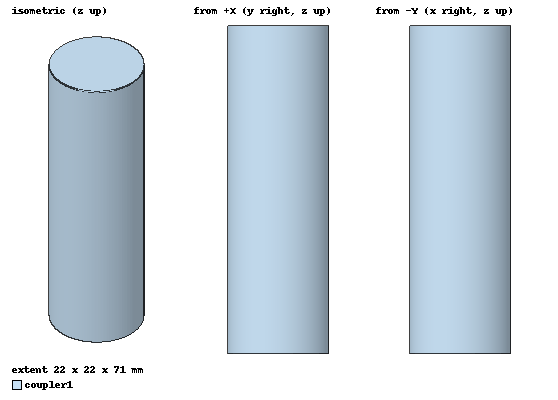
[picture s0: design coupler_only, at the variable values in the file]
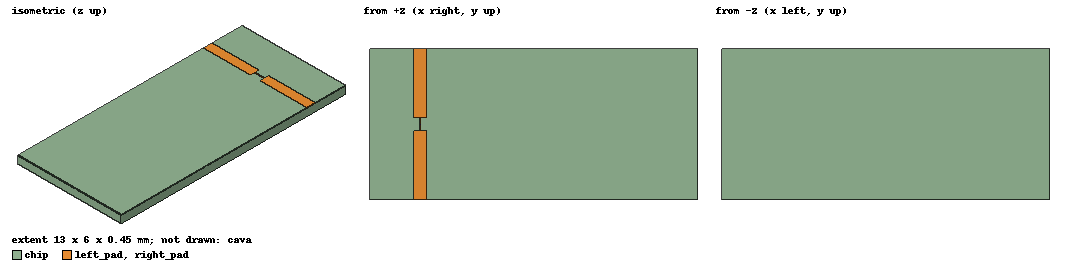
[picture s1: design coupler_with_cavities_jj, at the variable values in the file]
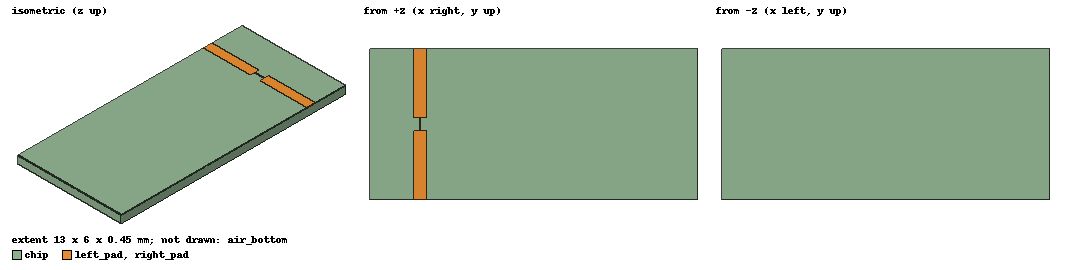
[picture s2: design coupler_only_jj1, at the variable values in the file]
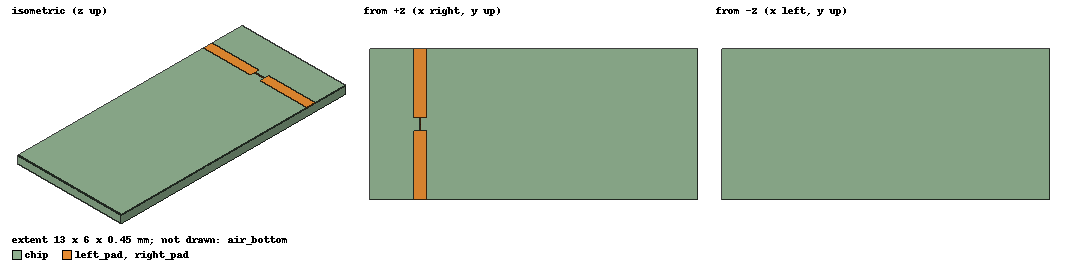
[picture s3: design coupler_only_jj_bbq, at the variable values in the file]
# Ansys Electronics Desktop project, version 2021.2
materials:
  vacuum: permittivity=1
  pec: conductivity=1e+30
  sapphire: permittivity=10 dielectric_loss_tangent=1.5e-08
  stycast: permittivity=2.772 dielectric_loss_tangent=5e-06 delta_H_freq=3000000

design coupler_only (HFSS, Eigenmode, model units mm)
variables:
  r_cpl = 10mm
  h_cpl = 70mm
  r_post = 2mm
  l_post = 7mm
  post_offset = 2mm
  h_bottom = 1mm
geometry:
  r_post = cylinder(axis=Z, base_centre=(0mm, post_offset/2 + r_post, 0mm), radius=r_post, height=l_post)
  l_post = cylinder(axis=Z, base_centre=(0mm, -post_offset/2-r_post, 0mm), radius=r_post, height=l_post)
  cavity_bottom = cylinder(axis=Z, base_centre=(0mm, 0mm, -h_bottom), radius=r_cpl, height=h_bottom)
  chip_slot = box(corner=(-r_post, -post_offset/2 - post_offset, -h_bottom), size=(r_cpl + r_post, post_offset + 2*post_offset, h_bottom))
  cavity_bottom.subtract(chip_slot)
  cavity_bottom.unite(l_post, r_post)
  coupler1 [vacuum] = cylinder(axis=Z, base_centre=(0mm, 0mm, -h_bottom), radius=1.1*r_cpl, height=h_cpl+h_bottom)
  coupler1.subtract(cavity_bottom)
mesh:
  Length1: LengthBased Faces=coupler1.face(2 of 3, at (-0.230304, 0, 0)) MaxLength=1mm
  Length2: LengthBased Faces=coupler1.face(1 of 3) MaxLength=5mm
  Length3: LengthBased Faces=coupler1.face(3 of 3) MaxLength=4.4mm
  Length4: LengthBased RefineInside Objects=coupler1 MaxLength=5mm
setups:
  Setup1: HfssEigen MinimumFrequency=2.14286GHz NumModes=2 MaxDeltaFreq=0.01 ConvergeOnRealFreq=true MaximumPasses=30 MinimumPasses=1 MinimumConvergedPasses=1 PercentRefinement=30 BasisOrder=-1
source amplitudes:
  #-10:1: 0 0deg
  #-10:2: 1 0deg
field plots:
  Vector_E1: E Field in coupler1 on Setup1 : LastAdaptive at Phase=0deg
  Vector_Jsurf1: Jsurf over coupler1.face(all 14) on Setup1 : LastAdaptive at Phase=90deg

design coupler_only_jj (HFSS, Eigenmode, model units mm)
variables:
  r_cpl = 10mm
  h_cpl = 75mm
  r_post = 2mm
  l_post = 7mm
  post_offset = 2mm
  h_bottom = 1mm
  w_pad = 0.5mm
  l_pad = w_slot/2-l_taper-l_junc/2
  l_junc = 50um
  w_junc = 50um
  l_taper = 0.25mm
  w_slot = post_offset+2*r_post
  LJ = 1nH
  h_chip = 0.45mm
  coupler_offset = 5mm
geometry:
  r_post = cylinder(axis=Z, base_centre=(0mm, post_offset/2 + r_post, 0mm), radius=r_post, height=l_post)
  l_post = cylinder(axis=Z, base_centre=(0mm, -post_offset/2-r_post, 0mm), radius=r_post, height=l_post)
  coupler1 = cylinder(axis=Z, base_centre=(0mm, 0mm, 0mm), radius=r_cpl, height=h_cpl)
  chip [sapphire] = box(corner=(-r_cpl, -w_slot/2, -h_chip), size=(2*r_cpl, w_slot, h_chip))
  left_pad = rectangle(corner=(-w_pad/2, -l_pad-l_taper-l_junc/2, 0mm), x_size=w_pad, y_size=l_pad)
  right_pad = rectangle(corner=(-w_pad/2, l_taper+l_junc/2, 0mm), x_size=w_pad, y_size=l_pad)
  left_taper = rectangle(corner=(-w_junc/2, -l_taper-l_junc/2, 0mm), x_size=w_junc, y_size=l_taper)
  right_taper = rectangle(corner=(-w_junc/2, l_junc/2, 0mm), x_size=w_junc, y_size=l_taper)
  jj = rectangle(corner=(-w_junc/2, -l_junc/2, 0mm), x_size=l_junc, y_size=w_junc)
  air_bottom [vacuum] = cylinder(axis=Z, base_centre=(0mm, 0mm, 0mm), radius=r_cpl, height=h_chip)
  chip_2 = chip.copy()
  air_bottom.subtract(chip_2)
  air_bottom.unite(coupler1)
  air_bottom.subtract(l_post, r_post)
  chip_3 = chip.copy()
  air_bottom.subtract(chip_3)
  air_bottom_ObjectFromEdge1 = object_from(air_bottom.edge(at (-2, -3, 0)))
  left_pad_ObjectFromEdge1..left_pad_ObjectFromEdge4 = object_from(left_pad.edge(all 4))
  air_bottom_ObjectFromEdge1.subtract(left_pad_ObjectFromEdge1..left_pad_ObjectFromEdge4)
  air_bottom_ObjectFromEdge2 = object_from(air_bottom.edge(at (-2, 3, 0)))
  right_pad_ObjectFromEdge1..right_pad_ObjectFromEdge4 = object_from(right_pad.edge(all 4))
  air_bottom_ObjectFromEdge2.subtract(right_pad_ObjectFromEdge1..right_pad_ObjectFromEdge4)
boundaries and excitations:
  pads: Perfect E Objects=[left_pad, right_pad, left_taper, right_taper]
  LumpRLC1: Lumped RLC Objects=jj CurrentLine{middle of jj.edge(y at corner) -> middle of jj.edge(y opposite corner)} RLC_Type=Parallel Inductance=LJ
  Imped1: Impedance Faces=air_bottom.face(3 of 3) Resistance=377 Reactance=0
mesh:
  pads: LengthBased Objects=[right_pad, left_pad] MaxLength="10 * w_junc"
  junc_and_taper: LengthBased Objects=[right_taper, jj, left_taper] MaxLength=w_junc/2
  cavity_top: LengthBased Faces=air_bottom.face(3 of 3) MaxLength=4.4mm
  cavity_inside: LengthBased RefineInside Objects=air_bottom MaxLength=14.09mm
  post_mesh: LengthBased Faces=air_bottom.face(at (2, 3, 3.5), at (0, -3, 7), at (2, -3, 3.5), at (0, 3, 7)) MaxLength="10 * w_junc"
  cavity_bottom: LengthBased Faces=air_bottom.face(2 of 3) MaxLength="10 * w_junc"
  chip_top: LengthBased Faces=chip.face(+z) MaxLength="10 * w_junc"
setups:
  Setup1: HfssEigen MinimumFrequency=0.1GHz NumModes=4 MaxDeltaFreq=0.05 ConvergeOnRealFreq=true MaximumPasses=35 MinimumPasses=1 MinimumConvergedPasses=1 PercentRefinement=30 BasisOrder=-1 ExpressionCache{CacheItem{Title=Q_1_1 Expression=Q(1) IsConvergence UseRelativeConvergence=1 MaxConvergenceDelta=10 MaxConvergeValue=0.01 TraceID=2336 ReportType=2} CacheItem{Title=Q_2_1 Expression=Q(2) IsConvergence UseRelativeConvergence=1 MaxConvergenceDelta=10 MaxConvergeValue=0.01 TraceID=2338 ReportType=2}}
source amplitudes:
  #-10:1, #-10:3, #-10:4: 0 0deg
  #-10:2: 1 0deg
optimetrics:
  LJ_wpad_sweep: Parametric Sim._Setups=[Setup1]
    sweep w_pad: LIN 0.5mm 3.5mm 1mm
    sweep LJ: DEC 1nH 10nH 1
  hcpl_sweep: Parametric Sim._Setups=[Setup1]
    sweep h_cpl: LIN 75mm 350mm 25mm
  LJ_post_sep_sweep: Parametric Sim._Setups=[Setup1]
    sweep LJ: DEC 1nH 10nH 1
    sweep post_offset: LIN 0.75mm 5.75mm 1.25mm
  LJ_dpost_sweep: Parametric Sim._Setups=[Setup1]
    sweep r_post: LIN 0.5mm 3mm 0.5mm
    sweep LJ: DEC 1nH 10nH 1
  LJ_sweep: Parametric Sim._Setups=[Setup1]
    sweep LJ: DEC 0.1nH 100nH 3
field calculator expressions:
  IJ = Mag_Jsurf | EnterSurface(jj) | SurfaceValue | Integrate
  Uvac = Mag_E | 2 | Pow | EnterVolume(air_bottom) | VolumeValue | Integrate
  Uchip = Mag_E | 2 | Pow | EnterVolume(chip) | VolumeValue | Integrate | 11.49 | *
  Utot = Uvac | Uchip | +
  pe_chip = Uchip | Utot | /
  Hint = Mag_H | 2 | Pow | EnterVolume(AllObjects) | VolumeValue | Integrate | Output_Variable(Freq, 4) | Real | * | 3.14159265358979 | * | 1.25663706143592e-06 | * | 2 | *
  J1int = ComplexMag_Jsurf | 2 | Pow | EnterLine(air_bottom_ObjectFromEdge1) | LineValue | Integrate
  J2int = ComplexMag_Jsurf | 2 | Pow | EnterLine(air_bottom_ObjectFromEdge2) | LineValue | Integrate
  y1seam = J1int | Hint | /
  y2seam = J2int | Hint | /
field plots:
  Mesh1: MeshPlots on Setup1 : LastAdaptive at Phase=0deg
  Vector_Jsurf1: Jsurf over air_bottom.face(3 of 3, 1 of 3) chip.face(all 6) left_pad.face(at (0, -1.6375, 0)) right_pad.face(at (0, 1.6375, 0)) left_taper.face right_taper.face jj.face on Setup1 : LastAdaptive at Phase=90deg
  Vector_E1: E Field on Setup1 : LastAdaptive at Phase=0deg
  Vector_Jsurf2: Jsurf over jj.face left_pad.face(at (0, -1.6375, 0)) left_taper.face right_pad.face(at (0, 1.6375, 0)) right_taper.face on Setup1 : LastAdaptive at Phase=90deg
  Vector_Jsurf3: Jsurf over jj.face left_pad.face(at (0, -1.6375, 0)) left_taper.face right_pad.face(at (0, 1.6375, 0)) right_taper.face air_bottom.face(at (2, 3, 3.5), at (2, -3, 3.5)) on Setup1 : LastAdaptive at Phase=90deg
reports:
  Eigen Modes Plot 2: re(Mode(2)) vs LJ on Setup1 : LastAdaptive [h_cpl=all post_offset=all w_pad=0.5mm]; markers m1 at 10nH, m2 at 1nH, m3 at 10nH, m4 at 1nH, m5 at 10nH, m6 at 1nH, m7 at 10nH, m8 at 1nH, m9 at 10nH, m10 at 1nH
  Eigen Modes Plot 3: re(Mode(2)) vs post_offset on Setup1 : LastAdaptive [h_cpl=75mm w_pad=0.5mm LJ=all]
  Eigen Modes Plot 4: re(Mode(1)) vs LJ on Setup1 : LastAdaptive [h_cpl=75mm r_post=all post_offset=2mm w_pad=0.5mm]
  Eigen Modes Plot 5: re(Mode(2)) vs LJ on Setup1 : LastAdaptive [h_cpl=75mm r_post=all post_offset=2mm w_pad=0.5mm]; markers m1 at 10nH, m2 at 1nH, m3 at 10nH, m4 at 1nH, m5 at 10nH, m6 at 1nH, m7 at 10nH, m8 at 1nH, m9 at 10nH, m10 at 1nH, m11 at 10nH, m12 at 1nH
  Calculator Expressions Plot 1: y1seam vs LJ on Setup1 : LastAdaptive [LJ=1nH,10nH h_cpl=all r_post=all post_offset=2mm w_pad=all Phase=90deg]
  Eigen Modes Plot 6: re(Mode(1)), re(Mode(2)), re(Mode(3)), re(Mode(4)) vs LJ on Setup1 : LastAdaptive [h_cpl=75mm r_post=2mm post_offset=2mm w_pad=0.5mm]; markers m1 at 10nH, m2 at 1nH
  Eigen Q Plot 1: Q(1), Q(2), Q(3), Q(4) vs LJ on Setup1 : LastAdaptive [h_cpl=75mm r_post=2mm post_offset=2mm w_pad=0.5mm]
  Eigen Modes Plot 7: re(Mode(2)) vs LJ on Setup1 : LastAdaptive [h_cpl=75mm r_post=2mm post_offset=2mm w_pad=all]; markers m1 at 10nH, m2 at 1nH, m3 at 10nH, m4 at 1nH, m5 at 10nH, m6 at 1nH, m7 at 10nH, m8 at 1nH
  Calculator Expressions Plot 2: y1seam vs LJ on Setup1 : LastAdaptive [LJ=1nH,10nH h_cpl=all r_post=2mm post_offset=2mm w_pad=all Phase=90deg]
  Calculator Expressions Plot 3: y1seam vs LJ on Setup1 : LastAdaptive [h_cpl=all r_post=2mm post_offset=all w_pad=0.5mm Phase=90deg]

design coupler_with_cavities_jj (HFSS, Eigenmode, model units mm)
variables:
  r_cpl = 10mm
  h_cpl = 75mm
  r_post = 2mm
  l_post = 7mm
  post_offset = 2mm
  h_bottom = 1mm
  w_pad = 0.5mm
  l_pad = w_slot/2-l_taper-l_junc/2
  l_junc = 50um
  w_junc = 50um
  l_taper = 0.25mm
  w_slot = post_offset+2*r_post
  LJ = 1nH
  h_chip = 0.45mm
  r_a = 15mm
  l_a = 75mm
  coupler_offset = 2mm
  ra_post = 3mm
  la_post = 10mm
  r_b = 15mm
  l_b = 75mm
  rb_post = 3mm
  lb_post = 12mm
  r_cpl_arm = 4mm
  l_cpl_arm = 6mm
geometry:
  r_post = cylinder(axis=Z, base_centre=(0mm, post_offset/2 + r_post, 0mm), radius=r_post, height=l_post)
  l_post = cylinder(axis=Z, base_centre=(0mm, -post_offset/2-r_post, 0mm), radius=r_post, height=l_post)
  coupler1 = cylinder(axis=Z, base_centre=(0mm, 0mm, -h_bottom), radius=r_cpl, height=h_cpl+h_bottom)
  chip [sapphire] = box(corner=(-r_post, -w_slot/2, -h_chip), size=(1.1*r_cpl + r_post, w_slot, h_chip))
  left_pad = rectangle(corner=(-w_pad/2, -l_pad-l_taper-l_junc/2, 0mm), x_size=w_pad, y_size=l_pad)
  right_pad = rectangle(corner=(-w_pad/2, l_taper+l_junc/2, 0mm), x_size=w_pad, y_size=l_pad)
  left_taper = rectangle(corner=(-w_junc/2, -l_taper-l_junc/2, 0mm), x_size=w_junc, y_size=l_taper)
  right_taper = rectangle(corner=(-w_junc/2, l_junc/2, 0mm), x_size=w_junc, y_size=l_taper)
  jj = rectangle(corner=(-w_junc/2, -l_junc/2, 0mm), x_size=l_junc, y_size=w_junc)
  air_bottom = cylinder(axis=Z, base_centre=(0mm, 0mm, -h_chip), radius=r_cpl, height=h_chip)
  chip_2 = chip.copy()
  air_bottom.subtract(chip_2)
  air_bottom.unite(coupler1)
  air_bottom.subtract(l_post, r_post)
  chip_3 = chip.copy()
  air_bottom.subtract(chip_3)
  cavb = cylinder(axis=Z, base_centre=(0mm, r_cpl+r_b+ coupler_offset, 0mm), radius=r_b, height=l_b)
  cava [vacuum] = cylinder(axis=Z, base_centre=(0mm, -r_cpl-r_a-coupler_offset, 0mm), radius=r_a, height=l_a)
  postb = cylinder(axis=Z, base_centre=(0mm, r_b+r_cpl+coupler_offset, 0mm), radius=rb_post, height=lb_post)
  posta = cylinder(axis=Z, base_centre=(0mm, -r_cpl-r_a-coupler_offset, 0mm), radius=ra_post, height=la_post)
  coupler_a = cylinder(axis=Y, base_centre=(0mm, -r_cpl-1.5*coupler_offset, l_post + r_cpl_arm), radius=r_cpl_arm, height=2*coupler_offset)
  cava.subtract(posta)
  cavb.subtract(postb)
  coupler_b = cylinder(axis=Y, base_centre=(0mm, 0.9*r_cpl, l_post + r_cpl_arm), radius=r_cpl_arm, height=2*coupler_offset)
  cava.unite(air_bottom, coupler_a, coupler_b, cavb)
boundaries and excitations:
  pads: Perfect E Objects=[left_pad, right_pad, left_taper, right_taper]
  LumpRLC1: Lumped RLC Objects=jj CurrentLine{middle of jj.edge(y at corner) -> middle of jj.edge(y opposite corner)} RLC_Type=Parallel Inductance=LJ
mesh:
  pads: LengthBased Objects=[right_pad, left_pad] MaxLength=w_pad/2
  junc_and_taper: LengthBased Objects=[right_taper, jj, left_taper] MaxLength=w_junc/2
  chip_inside: LengthBased RefineInside Objects=chip MaxLength=2.6mm
  cavity_top: LengthBased Faces=cava.face(3 of 3) MaxLength=4.4mm
  chip_surface: LengthBased Faces=chip.face(+z) MaxLength=w_pad
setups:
  Setup1: HfssEigen MinimumFrequency=0.1GHz NumModes=4 MaxDeltaFreq=0.05 ConvergeOnRealFreq=true MaximumPasses=35 MinimumPasses=1 MinimumConvergedPasses=1 PercentRefinement=30 BasisOrder=-1 ExpressionCache{CacheItem{Title=Q_1_1 Expression=Q(1) IsConvergence UseRelativeConvergence=1 MaxConvergenceDelta=40 MaxConvergeValue=0.01 TraceID=2336 ReportType=2} CacheItem{Title=Q_2_1 Expression=Q(2) IsConvergence UseRelativeConvergence=1 MaxConvergenceDelta=40 MaxConvergeValue=0.01 TraceID=2338 ReportType=2}}
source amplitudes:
  #-10:1: 1 0deg
  #-10:2, #-10:3, #-10:4: 0 0deg
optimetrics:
  LJ_sweep: Parametric Sim._Setups=[Setup1]
    sweep LJ: DEC 0.1nH 100nH 3
  hcpl_sweep: Parametric Sim._Setups=[Setup1]
    sweep h_cpl: LIN 75mm 350mm 25mm
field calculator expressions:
  IJ = Mag_Jsurf | EnterSurface(jj) | SurfaceValue | Integrate
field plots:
  Vector_E1: E Field on Setup1 : LastAdaptive at Phase=0deg
  Vector_H1: H Field on Setup1 : LastAdaptive at Phase=90deg
  Vector_Jsurf1: Jsurf over jj.face on Setup1 : LastAdaptive at Phase=90deg
  Mesh1: MeshPlots on Setup1 : LastAdaptive at Phase=0deg
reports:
  Eigen Modes Plot 1: re(Mode(2)), re(Mode(1)), re(Mode(3)), re(Mode(4)) vs LJ on Setup1 : LastAdaptive; markers m1 at 0.1nH, m2 at 100nH
   Plot 1: re(Mode(2)) - re(Mode(1)) vs LJ on Setup1 : LastAdaptive
  Solution Convergence Plot 1: MaxDeltaFreq vs Pass on Setup1 : AdaptivePass [LJ=all]
  Eigen Q Plot 1: Q(2), Q(1) vs LJ on Setup1 : LastAdaptive

design coupler_only_jj1 (HFSS, Eigenmode, model units mm)
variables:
  r_cpl = 10mm
  h_cpl = 75mm
  r_post = 2mm
  l_post = 2mm
  post_offset = 2mm
  h_bottom = 1mm
  w_pad = 0.5mm
  l_pad = w_slot/2-l_taper-l_junc/2
  l_junc = 50um
  w_junc = 50um
  l_taper = 0.25mm
  w_slot = post_offset+2*r_post
  LJ = 1nH
  h_chip = 0.45mm
  coupler_offset = 5mm
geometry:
  r_post = cylinder(axis=Z, base_centre=(0mm, post_offset/2 + r_post, 0mm), radius=r_post, height=l_post)
  l_post = cylinder(axis=Z, base_centre=(0mm, -post_offset/2-r_post, 0mm), radius=r_post, height=l_post)
  coupler1 = cylinder(axis=Z, base_centre=(0mm, 0mm, -h_bottom), radius=r_cpl, height=h_cpl+h_bottom)
  chip [sapphire] = box(corner=(-r_post, -w_slot/2, -h_chip), size=(1.1*r_cpl + r_post, w_slot, h_chip))
  left_pad = rectangle(corner=(-w_pad/2, -l_pad-l_taper-l_junc/2, 0mm), x_size=w_pad, y_size=l_pad)
  right_pad = rectangle(corner=(-w_pad/2, l_taper+l_junc/2, 0mm), x_size=w_pad, y_size=l_pad)
  left_taper = rectangle(corner=(-w_junc/2, -l_taper-l_junc/2, 0mm), x_size=w_junc, y_size=l_taper)
  right_taper = rectangle(corner=(-w_junc/2, l_junc/2, 0mm), x_size=w_junc, y_size=l_taper)
  jj = rectangle(corner=(-w_junc/2, -l_junc/2, 0mm), x_size=l_junc, y_size=w_junc)
  air_bottom [vacuum] = cylinder(axis=Z, base_centre=(0mm, 0mm, -h_chip), radius=r_cpl, height=h_chip)
  chip_2 = chip.copy()
  air_bottom.subtract(chip_2)
  air_bottom.unite(coupler1)
  air_bottom.subtract(l_post, r_post)
  chip_3 = chip.copy()
  air_bottom.subtract(chip_3)
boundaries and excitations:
  pads: Perfect E Objects=[left_pad, right_pad, left_taper, right_taper]
  LumpRLC1: Lumped RLC Objects=jj CurrentLine{middle of jj.edge(y at corner) -> middle of jj.edge(y opposite corner)} RLC_Type=Parallel Inductance=LJ
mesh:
  pads: LengthBased Objects=[right_pad, left_pad] MaxLength=w_pad/2
  junc_and_taper: LengthBased Objects=[right_taper, jj, left_taper] MaxLength=w_junc/2
  chip_inside: LengthBased RefineInside Objects=chip MaxLength=2.6mm
  cavity_top: LengthBased Faces=air_bottom.face(3 of 3) MaxLength=4.4mm
  chip_surface: LengthBased Faces=chip.face(+z) MaxLength=w_pad
  cavity_inside: LengthBased RefineInside Objects=air_bottom MaxLength=14.09mm
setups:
  Setup1: HfssEigen MinimumFrequency=0.1GHz NumModes=4 MaxDeltaFreq=0.05 ConvergeOnRealFreq=true MaximumPasses=35 MinimumPasses=1 MinimumConvergedPasses=1 PercentRefinement=30 BasisOrder=-1 ExpressionCache{CacheItem{Title=Q_1_1 Expression=Q(1) IsConvergence UseRelativeConvergence=1 MaxConvergenceDelta=10 MaxConvergeValue=0.01 TraceID=2336 ReportType=2} CacheItem{Title=Q_2_1 Expression=Q(2) IsConvergence UseRelativeConvergence=1 MaxConvergenceDelta=10 MaxConvergeValue=0.01 TraceID=2338 ReportType=2}}
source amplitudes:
  #-10:1, #-10:3, #-10:4: 0 0deg
  #-10:2: 1 0deg
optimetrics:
  LJ_sweep: Parametric Sim._Setups=[Setup1]
    sweep LJ: DEC 0.1nH 100nH 3
  hcpl_sweep: Parametric Sim._Setups=[Setup1]
    sweep h_cpl: LIN 75mm 350mm 25mm
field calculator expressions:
  IJ = Mag_Jsurf | EnterSurface(jj) | SurfaceValue | Integrate
  Uvac = Mag_E | 2 | Pow | EnterVolume(air_bottom) | VolumeValue | Integrate
  Uchip = Mag_E | 2 | Pow | EnterVolume(chip) | VolumeValue | Integrate | 11.49 | *
  Utot = Uvac | Uchip | +
  pe_chip = Uchip | Utot | /
  Ujj = Mag_E | 2 | Pow | EnterSurface(jj) | SurfaceValue | Integrate | 3e-09 | *
  pe_jj = Ujj | Uvac | Uchip | + | Ujj | + | /
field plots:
  Mesh1: MeshPlots on Setup1 : LastAdaptive at Phase=0deg
  Vector_Jsurf1: Jsurf over air_bottom.face(all 14) chip.face(all 6) left_pad.face right_pad.face left_taper.face right_taper.face jj.face on Setup1 : LastAdaptive at Phase=90deg
  Vector_E1: E Field on Setup1 : LastAdaptive at Phase=0deg
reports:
  Eigen Modes Plot 1: re(Mode(2)), re(Mode(1)), re(Mode(3)), re(Mode(4)) vs LJ on Setup1 : LastAdaptive; markers m1 at 0.1nH, m2 at 100nH
   Plot 1: re(Mode(2)) - re(Mode(1)) vs LJ on Setup1 : LastAdaptive
  Solution Convergence Plot 1: MaxDeltaFreq vs Pass on Setup1 : AdaptivePass [LJ=all]
  Eigen Q Plot 1: Q(2), Q(1) vs LJ on Setup1 : LastAdaptive
  Calculator Expressions Plot 1: pe_chip, pe_jj vs LJ on Setup1 : LastAdaptive [h_cpl=75mm Phase=0deg]; markers m1 at 100nH, m2 at 46.415888nH

design coupler_only_jj_bbq (HFSS, DrivenModal, model units mm)
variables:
  r_cpl = 10mm
  h_cpl = 75mm
  r_post = 2mm
  l_post = 7mm
  post_offset = 2mm
  h_bottom = 1mm
  w_pad = 0.5mm
  l_pad = w_slot/2-l_taper-l_junc/2
  l_junc = 50um
  w_junc = 50um
  l_taper = 0.25mm
  w_slot = post_offset+2*r_post
  LJ = 1nH
  h_chip = 0.45mm
  coupler_offset = 5mm
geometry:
  r_post = cylinder(axis=Z, base_centre=(0mm, post_offset/2 + r_post, 0mm), radius=r_post, height=l_post)
  l_post = cylinder(axis=Z, base_centre=(0mm, -post_offset/2-r_post, 0mm), radius=r_post, height=l_post)
  coupler1 = cylinder(axis=Z, base_centre=(0mm, 0mm, -h_bottom), radius=r_cpl, height=h_cpl+h_bottom)
  chip [sapphire] = box(corner=(-r_post, -w_slot/2, -h_chip), size=(1.1*r_cpl + r_post, w_slot, h_chip))
  left_pad = rectangle(corner=(-w_pad/2, -l_pad-l_taper-l_junc/2, 0mm), x_size=w_pad, y_size=l_pad)
  right_pad = rectangle(corner=(-w_pad/2, l_taper+l_junc/2, 0mm), x_size=w_pad, y_size=l_pad)
  left_taper = rectangle(corner=(-w_junc/2, -l_taper-l_junc/2, 0mm), x_size=w_junc, y_size=l_taper)
  right_taper = rectangle(corner=(-w_junc/2, l_junc/2, 0mm), x_size=w_junc, y_size=l_taper)
  jj = rectangle(corner=(-w_junc/2, -l_junc/2, 0mm), x_size=l_junc, y_size=w_junc)
  air_bottom [vacuum] = cylinder(axis=Z, base_centre=(0mm, 0mm, -h_chip), radius=r_cpl, height=h_chip)
  chip_2 = chip.copy()
  air_bottom.subtract(chip_2)
  air_bottom.unite(coupler1)
  air_bottom.subtract(l_post, r_post)
  chip_3 = chip.copy()
  air_bottom.subtract(chip_3)
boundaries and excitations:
  pads: Perfect E Objects=[left_pad, right_pad, left_taper, right_taper]
  1: Lumped Port Objects=jj Modes{Mode1{IntLine{middle of jj.edge(y at corner) -> middle of jj.edge(y opposite corner)} CharImp=Zpi RenormImp=50ohm}} Impedance=50ohm
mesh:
  pads: LengthBased Objects=[right_pad, left_pad] MaxLength=w_pad/2
  junc_and_taper: LengthBased Objects=[right_taper, jj, left_taper] MaxLength=w_junc/2
  chip_inside: LengthBased RefineInside Objects=chip MaxLength=2.6mm
  cavity_top: LengthBased Faces=air_bottom.face(3 of 3) MaxLength=4.4mm
  chip_surface: LengthBased Faces=chip.face(+z) MaxLength=w_pad
  cavity_inside: LengthBased RefineInside Objects=air_bottom MaxLength=14.09mm
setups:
  Setup: HfssDriven Frequency=1GHz MaxDeltaS=0.1 MaximumPasses=10 MinimumPasses=1 MinimumConvergedPasses=1 PercentRefinement=30 BasisOrder=-1 PortAccuracy=2
    sweep Interpolating_0: 0.1GHz to 10GHz, 20001 points; Type=Interpolating SaveFields InterpTolerance=0.5 InterpMaxSolns=250 InterpUsePortImped=false PassivityErrorTolerance=0.0001
    sweep Discrete_Sweep_0: 0.1GHz to 5.158504GHz, 201 points; Type=Discrete SaveFields
  Setup1: HfssDriven Frequency=1GHz MaxDeltaS=0.1 MaximumPasses=10 MinimumPasses=1 MinimumConvergedPasses=1 PercentRefinement=30 BasisOrder=-1 PortAccuracy=2
    sweep Interpolating_0: 0.1GHz to 10GHz, 20001 points; Type=Interpolating SaveFields InterpTolerance=0.5 InterpMaxSolns=250 InterpUsePortImped=false PassivityErrorTolerance=0.0001
    sweep Discrete_Sweep_0: 0.1GHz to 5.158504GHz, 201 points; Type=Discrete SaveFields
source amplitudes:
  1:1: 1W 0deg
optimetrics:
  LJ_sweep: Parametric
    sweep LJ: DEC 0.1nH 100nH 3
  hcpl_sweep: Parametric
    sweep h_cpl: LIN 75mm 350mm 25mm
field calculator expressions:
  IJ = Mag_Jsurf | EnterSurface(jj) | SurfaceValue | Integrate
  Uvac = Mag_E | 2 | Pow | EnterVolume(air_bottom) | VolumeValue | Integrate
  Uchip = Mag_E | 2 | Pow | EnterVolume(chip) | VolumeValue | Integrate | 11.49 | *
  Utot = Uvac | Uchip | +
  pe_chip = Uchip | Utot | /
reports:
  Interpolating_0: im(Y(1,1)) vs Freq on Setup : Interpolating_0
  Interpolating_01: im(Y(1,1)) vs Freq on Setup1 : Interpolating_0
  Discrete_Sweep_0: re(Y(1,1)) vs Freq on Setup1 : Discrete_Sweep_0
  Discrete_Sweep_01: im(Y(1,1)) vs Freq on Setup1 : Discrete_Sweep_0
